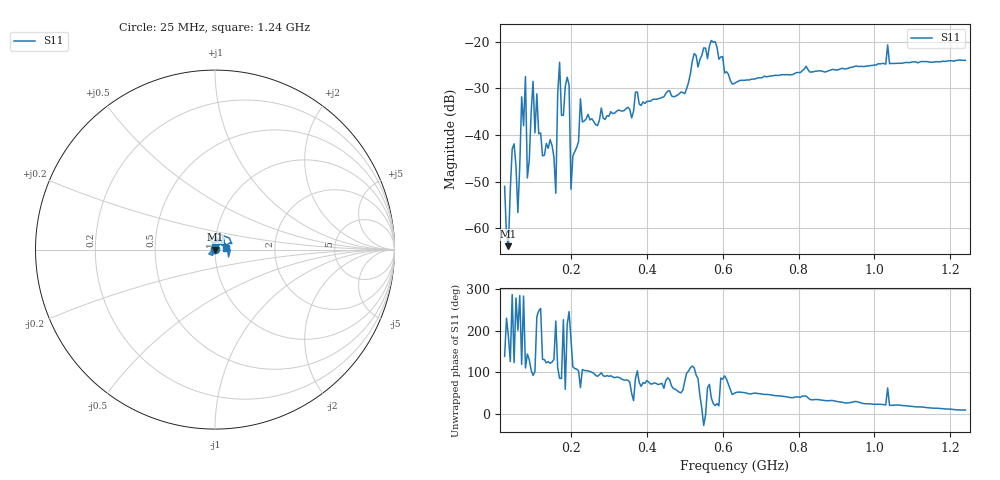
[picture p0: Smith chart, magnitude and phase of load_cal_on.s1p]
!Created with skrf (http://scikit-rf.org).
# Hz S RI R 50.0
!freq ReS11 ImS11
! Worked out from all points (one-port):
!   244 points, 25 MHz to 1.24 GHz, reference 50 ohm
!   lowest |S11| = -63.9 dB at 35 MHz (marker M1), VSWR 1.00, Z = 49.9 - j0.00847 ohm
!   |S11| at or under -10 dB: start of sweep to end of sweep
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2.500018e7  -0.00211 0.00186
3.500018e7  -0.000636 -8.48e-05
4.500018e7  0.00215 -0.00673
6.000018e7  -0.00137 -0.000546
7.000018e7  -0.0125 0.0223
7.500018e7  0.00305 -0.0121
8.000018e7  -0.0148 0.0395
8.500018e7  -0.0028 0.00201
1.000002e8  -0.0017 0.0374
1.050002e8  -0.00218 0.0103
1.100002e8  -0.0159 -0.0225
1.250002e8  -0.00393 0.00447
1.450002e8  -0.0047 0.00753
1.600002e8  -0.00171 -0.00164
1.650002e8  -0.00987 0.0257
1.700002e8  0.00445 0.0597
1.800002e8  -0.011 -0.0118
1.950002e8  -0.0137 -0.0314
2.000002e8  -0.00261 9.65e-05
2.250002e8  0.011 0.0217
3.300002e8  0.00122 0.0181
4.850002e8  0.0167 0.0217
5.700002e8  0.0805 0.0637
6.350002e8  0.0228 0.0285
7.850002e8  0.0344 0.0278
9.400002e8  0.0469 0.0245
1.09e9  0.0561 0.0193
1.24e9  0.062 0.0101
